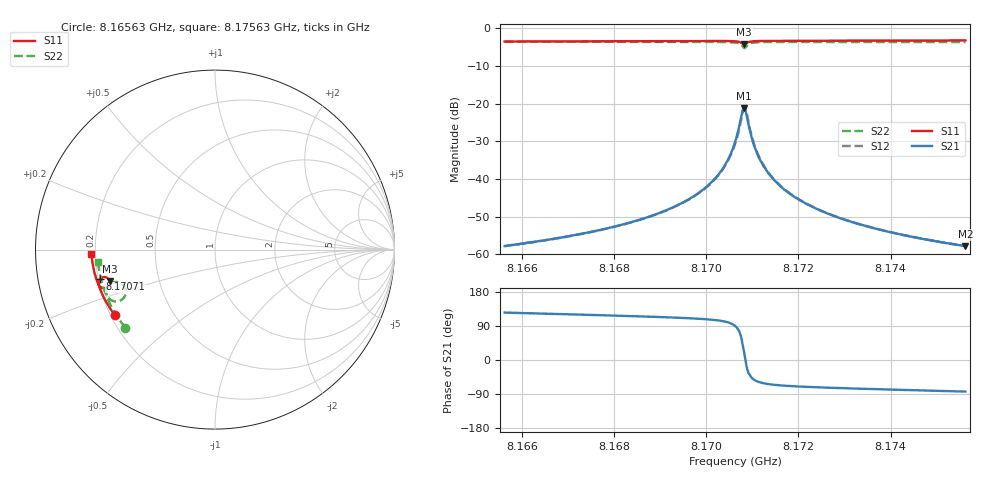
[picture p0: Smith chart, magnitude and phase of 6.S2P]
!Agilent Technologies,E5071C,MY46214390,A.10.06
!Date: Mon Feb 12 15:10:22 2018
!Data & Calibration Information:
!Freq	S11:SOLT2(ON)	S21:SOLT2(ON)	S12:SOLT2(ON)	S22:SOLT2(ON)
!PortZ  Port1:50+j0  Port2:50+j0
!Above PortZ is port z conversion or system Z0 setting when saving the data.
!When reading, reference impedance value at option line is always used.
# Hz S dB R 50
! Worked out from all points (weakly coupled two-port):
!   1601 points, 8.16563 GHz to 8.17563 GHz, reference 50 ohm
!   highest |S21| = -21.18 dB at 8.17083 GHz (marker M1); lowest = -57.9 dB at 8.17563 GHz (marker M2)
!   lowest |S11| = -4.3 dB at 8.17083 GHz (marker M3), VSWR 4.16, Z = 12.3 - j6.86 ohm
!   |S11| at or under -10 dB: nowhere
!   |S22| runs from -5.3 to -3.6 dB; largest |S21 - S12| = 0.019
!   S11 on the Smith chart (normalised r, x): 8.16563 GHz: 0.22, -0.29; 8.17071 GHz: 0.21, -0.12; 8.17563 GHz: 0.18, -0.02
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8.165625e9  -3.52 -146.6  -57.83 125.3  -57.81 126.3  -3.59 -138.9
8.167294e9  -3.47 -152.1  -54.59 119.7  -54.60 120.8  -3.60 -144.8
8.168194e9  -3.44 -155.1  -52.10 116.4  -52.15 117.6  -3.61 -148.0
8.168962e9  -3.41 -157.6  -49.15 113.4  -49.20 114.6  -3.62 -150.9
8.169606e9  -3.39 -159.8  -45.53 110.3  -45.60 111.6  -3.63 -153.3
8.170075e9  -3.38 -161.5  -41.33 106.8  -41.52 108.0  -3.64 -155.3
8.1704e9  -3.39 -162.9  -36.46 101.5  -36.70 102.9  -3.67 -157.2
8.170525e9  -3.40 -163.7  -33.47 97.0  -33.92 98.9  -3.71 -158.2
8.170625e9  -3.45 -164.6  -30.21 90.1  -30.74 92.4  -3.80 -159.5
8.170706e9  -3.58 -165.6  -26.61 78.2  -27.29 82.0  -4.00 -161.0
8.170781e9  -4.04 -165.8  -22.19 47.6  -23.07 57.8  -4.65 -162.1
8.170825e9  -4.26 -163.4  -21.18 19.0  -21.26 28.0  -5.27 -158.2
8.170875e9  -3.94 -160.7  -23.06 -16.4  -22.34 -7.6  -4.83 -152.2
8.170975e9  -3.52 -161.5  -28.49 -44.8  -27.93 -41.8  -3.93 -153.3
8.171069e9  -3.43 -162.5  -32.12 -54.1  -31.80 -52.3  -3.75 -155.0
8.171188e9  -3.38 -163.3  -35.41 -59.7  -35.13 -58.2  -3.69 -156.3
8.171325e9  -3.36 -164.0  -38.07 -63.1  -37.81 -61.8  -3.66 -157.3
8.171731e9  -3.34 -165.7  -43.17 -68.0  -43.08 -66.9  -3.65 -159.4
8.172294e9  -3.32 -167.6  -47.38 -71.4  -47.30 -70.4  -3.65 -161.7
8.173019e9  -3.30 -169.9  -50.88 -74.6  -50.84 -73.4  -3.65 -164.4
8.173962e9  -3.27 -172.8  -54.06 -77.9  -54.04 -76.7  -3.66 -167.9
8.175625e9  -3.24 -177.9  -57.87 -83.3  -57.82 -82.2  -3.67 -173.8
